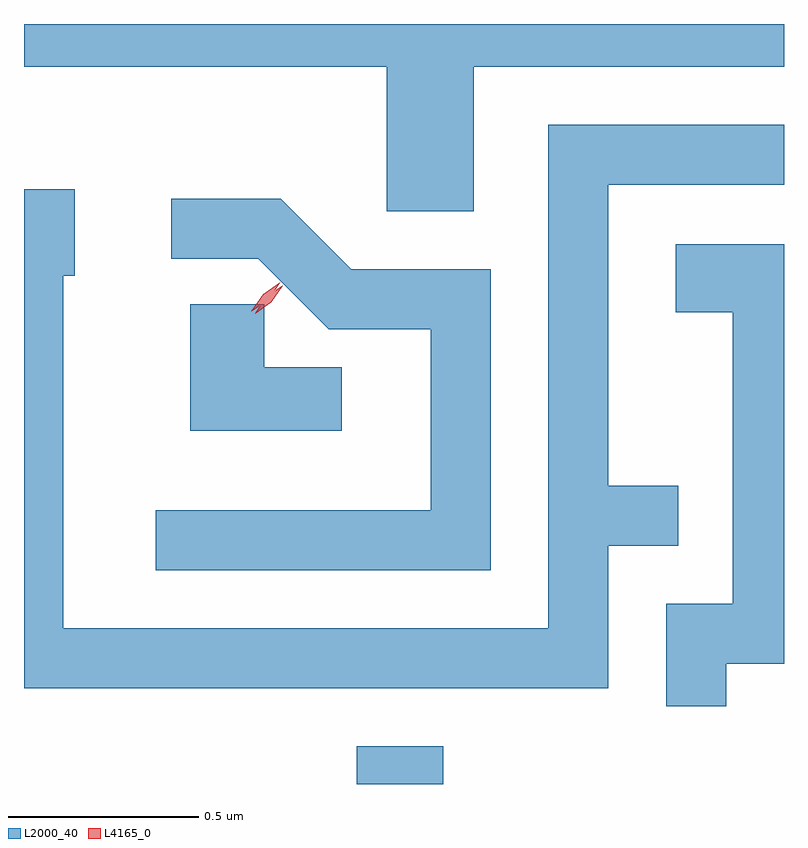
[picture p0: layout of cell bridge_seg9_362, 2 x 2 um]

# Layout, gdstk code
import gdstk
lib = gdstk.Library(unit=1e-6, precision=1e-09)
def R(c, l, rs):  # rectangles x0, y0, x1, y1
    for r in rs: c.add(gdstk.rectangle(r[:2], r[2:], *l))
def P(c, l, *ps):  # polygons
    for p in ps: c.add(gdstk.Polygon(p, *l))
L2000_40 = (2000, 40)
L4165_0 = (4165, 0)

bridge_seg9_362 = lib.new_cell('bridge_seg9_362')
R(bridge_seg9_362, L2000_40, [(849.681,1981.049,849.909,1981.149)])
P(bridge_seg9_362, L2000_40, [(849.989,1982.936),(850.806,1982.936),(850.806,1983.049),(848.806,1983.049),(848.806,1982.936),(849.761,1982.936),(849.761,1982.556),(849.989,1982.556)],
  [(850.344,1981.676),(850.528,1981.676),(850.528,1981.834),(850.344,1981.834),(850.344,1982.626),(850.806,1982.626),(850.806,1982.784),(850.186,1982.784),(850.186,1981.459),(848.909,1981.459),(848.909,1982.386),(848.939,1982.386),(848.939,1982.614),(848.806,1982.614),(848.806,1981.301),(850.344,1981.301)],
  [(850.034,1982.404),(849.667,1982.404),(849.482,1982.589),(849.193,1982.589),(849.193,1982.431),(849.423,1982.431),(849.608,1982.246),(849.876,1982.246),(849.876,1981.769),(849.153,1981.769),(849.153,1981.611),(850.034,1981.611)],
  [(850.654,1981.366),(850.806,1981.366),(850.806,1982.469),(850.521,1982.469),(850.521,1982.291),(850.671,1982.291),(850.671,1981.524),(850.496,1981.524),(850.496,1981.253),(850.654,1981.253)],
  [(849.642,1982.146),(849.438,1982.146),(849.438,1982.312),(849.244,1982.312),(849.244,1981.978),(849.642,1981.978)])
P(bridge_seg9_362, L4165_0, [(849.404,1982.293),(849.404,1982.293),(849.435,1982.338),(849.48,1982.37),(849.48,1982.37),(849.48,1982.369),(849.45,1982.324),(849.405,1982.293)],
  [(849.414,1982.287),(849.414,1982.288),(849.443,1982.331),(849.486,1982.36),(849.487,1982.36),(849.487,1982.36),(849.457,1982.317),(849.415,1982.287)])

lib.write_gds('bridge_seg9_362.gds')
